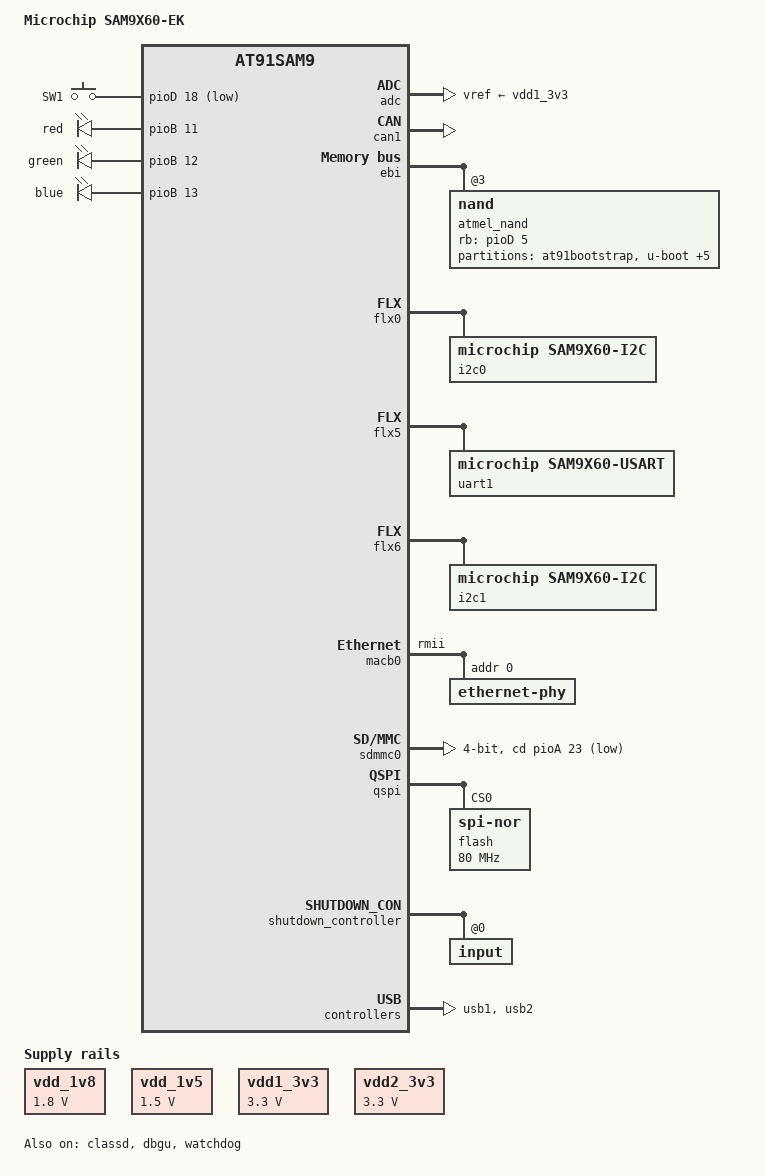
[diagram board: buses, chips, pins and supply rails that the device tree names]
// SPDX-License-Identifier: (GPL-2.0+ OR MIT)
/*
 * at91-sam9x60ek.dts - Device Tree file for Microchip SAM9X60-EK board
 *
 * Copyright (C) 2019 Microchip Technology Inc. and its subsidiaries
 *
 * Author: Sandeep Sheriker M <sandeepsheriker.mallikarjun@microchip.com>
 */
/dts-v1/;
#include "sam9x60.dtsi"

/ {
	model = "Microchip SAM9X60-EK";
	compatible = "microchip,sam9x60ek", "microchip,sam9x60", "atmel,at91sam9";

	aliases {
		i2c0 = &i2c0;
		i2c1 = &i2c1;
		serial1 = &uart1;
	};

	chosen {
		stdout-path = "serial0:115200n8";
	};

	clocks {
		slow_xtal {
			clock-frequency = <32768>;
		};

		main_xtal {
			clock-frequency = <24000000>;
		};
	};

	regulators: regulators {
		compatible = "simple-bus";
		#address-cells = <1>;
		#size-cells = <0>;

		vdd_1v8: fixed-regulator-vdd_1v8@0 {
			compatible = "regulator-fixed";
			regulator-name = "VDD_1V8";
			regulator-min-microvolt = <1800000>;
			regulator-max-microvolt = <1800000>;
			regulator-always-on;
			status = "okay";
		};

		vdd_1v5: fixed-regulator-vdd_1v5@1 {
			compatible = "regulator-fixed";
			regulator-name = "VDD_1V5";
			regulator-min-microvolt = <1500000>;
			regulator-max-microvolt = <1500000>;
			regulator-always-on;
			status = "okay";
		};

		vdd1_3v3: fixed-regulator-vdd1_3v3@2 {
			compatible = "regulator-fixed";
			regulator-name = "VDD1_3V3";
			regulator-min-microvolt = <3300000>;
			regulator-max-microvolt = <3300000>;
			regulator-always-on;
			status = "okay";
		};

		vdd2_3v3: regulator-fixed-vdd2_3v3@3 {
			compatible = "regulator-fixed";
			regulator-name = "VDD2_3V3";
			regulator-min-microvolt = <3300000>;
			regulator-max-microvolt = <3300000>;
			regulator-always-on;
			status = "okay";
		};
	};

	gpio_keys {
		compatible = "gpio-keys";
		pinctrl-names = "default";
		pinctrl-0 = <&pinctrl_key_gpio_default>;
		status = "okay";

		sw1 {
			label = "SW1";
			gpios = <&pioD 18 GPIO_ACTIVE_LOW>;
			linux,code=<0x104>;
			wakeup-source;
		};
	};

	leds {
		compatible = "gpio-leds";
		status = "okay"; /* Conflict with pwm0. */

		red {
			label = "red";
			gpios = <&pioB 11 GPIO_ACTIVE_HIGH>;
		};

		green {
			label = "green";
			gpios = <&pioB 12 GPIO_ACTIVE_HIGH>;
		};

		blue {
			label = "blue";
			gpios = <&pioB 13 GPIO_ACTIVE_HIGH>;
			linux,default-trigger = "heartbeat";
		};
	};
};

&adc {
	vddana-supply = <&vdd1_3v3>;
	vref-supply = <&vdd1_3v3>;
	pinctrl-names = "default";
	pinctrl-0 = <&pinctrl_adc_default &pinctrl_adtrg_default>;
	status = "okay";
};

&can0 {
	pinctrl-names = "default";
	pinctrl-0 = <&pinctrl_can0_rx_tx>;
	status = "disabled"; /* Conflict with dbgu. */
};

&can1 {
	pinctrl-names = "default";
	pinctrl-0 = <&pinctrl_can1_rx_tx>;
	status = "okay";
};

&classd {
	pinctrl-names = "default";
	pinctrl-0 = <&pinctrl_classd_default>;
	atmel,pwm-type = "diff";
	atmel,non-overlap-time = <10>;
	status = "okay";
};

&dbgu {
	pinctrl-names = "default";
	pinctrl-0 = <&pinctrl_dbgu>;
	status = "okay"; /* Conflict with can0. */
};

&ebi {
	pinctrl-names = "default";
	pinctrl-0 = <&pinctrl_ebi_addr_nand &pinctrl_ebi_data_0_7>;
	status = "okay";

	nand_controller: nand-controller {
		pinctrl-names = "default";
		pinctrl-0 = <&pinctrl_nand_oe_we &pinctrl_nand_cs &pinctrl_nand_rb>;
		status = "okay";

		nand@3 {
			reg = <0x3 0x0 0x800000>;
			rb-gpios = <&pioD 5 GPIO_ACTIVE_HIGH>;
			cs-gpios = <&pioD 4 GPIO_ACTIVE_HIGH>;
			nand-bus-width = <8>;
			nand-ecc-mode = "hw";
			nand-ecc-strength = <8>;
			nand-ecc-step-size = <512>;
			nand-on-flash-bbt;
			label = "atmel_nand";

			partitions {
				compatible = "fixed-partitions";
				#address-cells = <1>;
				#size-cells = <1>;

				at91bootstrap@0 {
					label = "at91bootstrap";
					reg = <0x0 0x40000>;
				};

				uboot@40000 {
					label = "u-boot";
					reg = <0x40000 0xc0000>;
				};

				ubootenvred@100000 {
					label = "U-Boot Env Redundant";
					reg = <0x100000 0x40000>;
				};

				ubootenv@140000 {
					label = "U-Boot Env";
					reg = <0x140000 0x40000>;
				};

				dtb@180000 {
					label = "device tree";
					reg = <0x180000 0x80000>;
				};

				kernel@200000 {
					label = "kernel";
					reg = <0x200000 0x600000>;
				};

				rootfs@800000 {
					label = "rootfs";
					reg = <0x800000 0x1f800000>;
				};
			};
		};
	};
};

&flx0 {
	atmel,flexcom-mode = <ATMEL_FLEXCOM_MODE_TWI>;
	status = "okay";

	i2c0: i2c@600 {
		compatible = "microchip,sam9x60-i2c";
		reg = <0x600 0x200>;
		interrupts = <5 IRQ_TYPE_LEVEL_HIGH 7>;
		#address-cells = <1>;
		#size-cells = <0>;
		clocks = <&pmc PMC_TYPE_PERIPHERAL 5>;
		pinctrl-names = "default";
		pinctrl-0 = <&pinctrl_flx0_default>;
		atmel,fifo-size = <16>;
		i2c-analog-filter;
		i2c-digital-filter;
		i2c-digital-filter-width-ns = <35>;
		status = "okay";

		eeprom@53 {
			compatible = "atmel,24c32";
			reg = <0x53>;
			pagesize = <16>;
			size = <128>;
			status = "okay";
		};
	};
};

&flx4 {
	atmel,flexcom-mode = <ATMEL_FLEXCOM_MODE_SPI>;
	status = "disabled";

	spi0: spi@400 {
		compatible = "microchip,sam9x60-spi", "atmel,at91rm9200-spi";
		reg = <0x400 0x200>;
		interrupts = <13 IRQ_TYPE_LEVEL_HIGH 7>;
		clocks = <&pmc PMC_TYPE_PERIPHERAL 13>;
		clock-names = "spi_clk";
		pinctrl-names = "default";
		pinctrl-0 = <&pinctrl_flx4_default>;
		atmel,fifo-size = <16>;
		#address-cells = <1>;
		#size-cells = <0>;
		status = "disabled";
	};
};

&flx5 {
	atmel,flexcom-mode = <ATMEL_FLEXCOM_MODE_USART>;
	status = "okay";

	uart1: serial@200 {
		compatible = "microchip,sam9x60-usart", "atmel,at91sam9260-usart";
		reg = <0x200 0x200>;
		interrupts = <14 IRQ_TYPE_LEVEL_HIGH 7>;
		dmas = <&dma0
			(AT91_XDMAC_DT_MEM_IF(0) | AT91_XDMAC_DT_PER_IF(1) |
			 AT91_XDMAC_DT_PERID(10))>,
		       <&dma0
			(AT91_XDMAC_DT_MEM_IF(0) | AT91_XDMAC_DT_PER_IF(1) |
			 AT91_XDMAC_DT_PERID(11))>;
		dma-names = "tx", "rx";
		clocks = <&pmc PMC_TYPE_PERIPHERAL 14>;
		clock-names = "usart";
		pinctrl-0 = <&pinctrl_flx5_default>;
		pinctrl-names = "default";
		atmel,use-dma-rx;
		atmel,use-dma-tx;
		status = "okay";
	};
};

&flx6 {
	atmel,flexcom-mode = <ATMEL_FLEXCOM_MODE_TWI>;
	status = "okay";

	i2c1: i2c@600 {
		compatible = "microchip,sam9x60-i2c";
		reg = <0x600 0x200>;
		interrupts = <9 IRQ_TYPE_LEVEL_HIGH 7>;
		#address-cells = <1>;
		#size-cells = <0>;
		clocks = <&pmc PMC_TYPE_PERIPHERAL 9>;
		pinctrl-names = "default";
		pinctrl-0 = <&pinctrl_flx6_default>;
		atmel,fifo-size = <16>;
		i2c-analog-filter;
		i2c-digital-filter;
		i2c-digital-filter-width-ns = <35>;
		status = "okay";

		gpio_exp: mcp23008@20 {
			compatible = "microchip,mcp23008";
			reg = <0x20>;
		};
	};
};

&i2s {
	pinctrl-names = "default";
	pinctrl-0 = <&pinctrl_i2s_default>;
	#sound-dai-cells = <0>;
	status = "disabled"; /* Conflict with QSPI. */
};

&macb0 {
	phy-mode = "rmii";
	#address-cells = <1>;
	#size-cells = <0>;
	pinctrl-names = "default";
	pinctrl-0 = <&pinctrl_macb0_rmii>;
	status = "okay";

	ethernet-phy@0 {
		reg = <0x0>;
	};
};

&pinctrl {
	atmel,mux-mask = <
			 /*	A	B	C	*/
			 0xFFFFFE7F 0xC0E0397F 0xEF00019D	/* pioA */
			 0x03FFFFFF 0x02FC7E68 0x00780000	/* pioB */
			 0xffffffff 0xF83FFFFF 0xB800F3FC	/* pioC */
			 0x003FFFFF 0x003F8000 0x00000000	/* pioD */
			 >;

	adc {
		pinctrl_adc_default: adc_default {
			atmel,pins = <AT91_PIOB 15 AT91_PERIPH_A AT91_PINCTRL_NONE>;
		};

		pinctrl_adtrg_default: adtrg_default {
			atmel,pins = <AT91_PIOB 18 AT91_PERIPH_B AT91_PINCTRL_PULL_UP>;
		};
	};

	dbgu {
		pinctrl_dbgu: dbgu-0 {
			atmel,pins = <AT91_PIOA 9 AT91_PERIPH_A AT91_PINCTRL_PULL_UP
				      AT91_PIOA 10 AT91_PERIPH_A AT91_PINCTRL_NONE>;
		};
	};

	i2s {
		pinctrl_i2s_default: i2s {
			atmel,pins =
				<AT91_PIOB 19 AT91_PERIPH_B AT91_PINCTRL_NONE		/* I2SCK */
				 AT91_PIOB 20 AT91_PERIPH_B AT91_PINCTRL_NONE		/* I2SWS */
				 AT91_PIOB 21 AT91_PERIPH_B AT91_PINCTRL_NONE		/* I2SDIN */
				 AT91_PIOB 22 AT91_PERIPH_B AT91_PINCTRL_NONE		/* I2SDOUT */
				 AT91_PIOB 23 AT91_PERIPH_B AT91_PINCTRL_NONE>;		/* I2SMCK */
		};
	};

	qspi {
		pinctrl_qspi: qspi {
			atmel,pins =
				<AT91_PIOB 19 AT91_PERIPH_A AT91_PINCTRL_SLEWRATE_DIS
				 AT91_PIOB 20 AT91_PERIPH_A AT91_PINCTRL_SLEWRATE_DIS
				 AT91_PIOB 21 AT91_PERIPH_A (AT91_PINCTRL_PULL_UP | AT91_PINCTRL_SLEWRATE_DIS)
				 AT91_PIOB 22 AT91_PERIPH_A (AT91_PINCTRL_PULL_UP | AT91_PINCTRL_SLEWRATE_DIS)
				 AT91_PIOB 23 AT91_PERIPH_A (AT91_PINCTRL_PULL_UP | AT91_PINCTRL_SLEWRATE_DIS)
				 AT91_PIOB 24 AT91_PERIPH_A (AT91_PINCTRL_PULL_UP | AT91_PINCTRL_SLEWRATE_DIS)>;
		};
	};

	nand {
		pinctrl_nand_oe_we: nand-oe-we-0 {
			atmel,pins =
				<AT91_PIOD 0 AT91_PERIPH_A (AT91_PINCTRL_NONE | AT91_PINCTRL_SLEWRATE_DIS)
				 AT91_PIOD 1 AT91_PERIPH_A (AT91_PINCTRL_NONE | AT91_PINCTRL_SLEWRATE_DIS)>;
		};

		pinctrl_nand_rb: nand-rb-0 {
			atmel,pins =
				<AT91_PIOD 5 AT91_PERIPH_GPIO AT91_PINCTRL_PULL_UP>;
		};

		pinctrl_nand_cs: nand-cs-0 {
			atmel,pins =
				<AT91_PIOD 4 AT91_PERIPH_GPIO AT91_PINCTRL_PULL_UP>;
		};
	};

	ebi {
		pinctrl_ebi_data_0_7: ebi-data-lsb-0 {
			atmel,pins =
				<AT91_PIOD 6 AT91_PERIPH_A (AT91_PINCTRL_NONE | AT91_PINCTRL_SLEWRATE_DIS)
				 AT91_PIOD 7 AT91_PERIPH_A (AT91_PINCTRL_NONE | AT91_PINCTRL_SLEWRATE_DIS)
				 AT91_PIOD 8 AT91_PERIPH_A (AT91_PINCTRL_NONE | AT91_PINCTRL_SLEWRATE_DIS)
				 AT91_PIOD 9 AT91_PERIPH_A (AT91_PINCTRL_NONE | AT91_PINCTRL_SLEWRATE_DIS)
				 AT91_PIOD 10 AT91_PERIPH_A (AT91_PINCTRL_NONE | AT91_PINCTRL_SLEWRATE_DIS)
				 AT91_PIOD 11 AT91_PERIPH_A (AT91_PINCTRL_NONE | AT91_PINCTRL_SLEWRATE_DIS)
				 AT91_PIOD 12 AT91_PERIPH_A (AT91_PINCTRL_NONE | AT91_PINCTRL_SLEWRATE_DIS)
				 AT91_PIOD 13 AT91_PERIPH_A (AT91_PINCTRL_NONE | AT91_PINCTRL_SLEWRATE_DIS)>;
		};

		pinctrl_ebi_data_0_15: ebi-data-msb-0 {
			atmel,pins =
				<AT91_PIOD 6 AT91_PERIPH_A AT91_PINCTRL_NONE
				 AT91_PIOD 7 AT91_PERIPH_A AT91_PINCTRL_NONE
				 AT91_PIOD 8 AT91_PERIPH_A AT91_PINCTRL_NONE
				 AT91_PIOD 9 AT91_PERIPH_A AT91_PINCTRL_NONE
				 AT91_PIOD 10 AT91_PERIPH_A AT91_PINCTRL_NONE
				 AT91_PIOD 11 AT91_PERIPH_A AT91_PINCTRL_NONE
				 AT91_PIOD 12 AT91_PERIPH_A AT91_PINCTRL_NONE
				 AT91_PIOD 13 AT91_PERIPH_A AT91_PINCTRL_NONE
				 AT91_PIOD 14 AT91_PERIPH_A AT91_PINCTRL_NONE
				 AT91_PIOD 15 AT91_PERIPH_A AT91_PINCTRL_NONE
				 AT91_PIOD 16 AT91_PERIPH_A AT91_PINCTRL_NONE
				 AT91_PIOD 17 AT91_PERIPH_A AT91_PINCTRL_NONE
				 AT91_PIOD 18 AT91_PERIPH_A AT91_PINCTRL_NONE
				 AT91_PIOD 19 AT91_PERIPH_A AT91_PINCTRL_NONE
				 AT91_PIOD 20 AT91_PERIPH_A AT91_PINCTRL_NONE
				 AT91_PIOD 21 AT91_PERIPH_A AT91_PINCTRL_NONE>;
		};

		pinctrl_ebi_addr_nand: ebi-addr-0 {
			atmel,pins =
				<AT91_PIOD 2 AT91_PERIPH_A (AT91_PINCTRL_NONE | AT91_PINCTRL_SLEWRATE_DIS)
				 AT91_PIOD 3 AT91_PERIPH_A (AT91_PINCTRL_NONE | AT91_PINCTRL_SLEWRATE_DIS)>;
		};
	};

	flexcom {
		pinctrl_flx0_default: flx0_twi {
			atmel,pins =
				<AT91_PIOA 0 AT91_PERIPH_A AT91_PINCTRL_PULL_UP
				 AT91_PIOA 1 AT91_PERIPH_A AT91_PINCTRL_PULL_UP>;
		};

		pinctrl_flx4_default: flx4_spi {
			atmel,pins =
				<AT91_PIOA 11 AT91_PERIPH_A AT91_PINCTRL_NONE
				 AT91_PIOA 12 AT91_PERIPH_A AT91_PINCTRL_NONE
				 AT91_PIOA 13 AT91_PERIPH_A AT91_PINCTRL_NONE
				 AT91_PIOA 14 AT91_PERIPH_A AT91_PINCTRL_NONE>;
		};

		pinctrl_flx5_default: flx_uart {
			atmel,pins =
				<AT91_PIOA 7 AT91_PERIPH_C AT91_PINCTRL_NONE
				 AT91_PIOA 8 AT91_PERIPH_B AT91_PINCTRL_NONE
				 AT91_PIOA 21 AT91_PERIPH_B AT91_PINCTRL_NONE
				 AT91_PIOA 22 AT91_PERIPH_B AT91_PINCTRL_NONE>;
		};

		pinctrl_flx6_default: flx6_twi {
			atmel,pins =
				<AT91_PIOA 30 AT91_PERIPH_A AT91_PINCTRL_PULL_UP
				 AT91_PIOA 31 AT91_PERIPH_A AT91_PINCTRL_PULL_UP>;
		};
	};

	classd {
		pinctrl_classd_default: classd {
			atmel,pins =
				<AT91_PIOA 24 AT91_PERIPH_C AT91_PINCTRL_PULL_UP
				 AT91_PIOA 25 AT91_PERIPH_C AT91_PINCTRL_PULL_UP
				 AT91_PIOA 26 AT91_PERIPH_C AT91_PINCTRL_PULL_UP
				 AT91_PIOA 27 AT91_PERIPH_C AT91_PINCTRL_PULL_UP>;
		};
	};

	can0 {
		pinctrl_can0_rx_tx: can0_rx_tx {
			atmel,pins =
				<AT91_PIOA 9 AT91_PERIPH_B AT91_PINCTRL_NONE	/* CANRX0 */
				 AT91_PIOA 10 AT91_PERIPH_B AT91_PINCTRL_NONE	/* CANTX0 */
				 AT91_PIOD 20 AT91_PERIPH_GPIO AT91_PINCTRL_PULL_DOWN	/* Enable CAN0 mux */
				 AT91_PIOD 21 AT91_PERIPH_GPIO AT91_PINCTRL_PULL_DOWN>;	/* Enable CAN Transceivers */
		};
	};

	can1 {
		pinctrl_can1_rx_tx: can1_rx_tx {
			atmel,pins =
				<AT91_PIOA 6 AT91_PERIPH_B AT91_PINCTRL_NONE	/* CANRX1 RXD1 */
				 AT91_PIOA 5 AT91_PERIPH_B AT91_PINCTRL_NONE	/* CANTX1 TXD1 */
				 AT91_PIOD 19 AT91_PERIPH_GPIO AT91_PINCTRL_PULL_DOWN	/* Enable CAN1 mux */
				 AT91_PIOD 21 AT91_PERIPH_GPIO AT91_PINCTRL_PULL_DOWN>;	/* Enable CAN Transceivers */
		};
	};

	macb0 {
		pinctrl_macb0_rmii: macb0_rmii-0 {
			atmel,pins =
				<AT91_PIOB 0 AT91_PERIPH_A AT91_PINCTRL_NONE	/* PB0 periph A */
				 AT91_PIOB 1 AT91_PERIPH_A AT91_PINCTRL_NONE	/* PB1 periph A */
				 AT91_PIOB 2 AT91_PERIPH_A AT91_PINCTRL_NONE	/* PB2 periph A */
				 AT91_PIOB 3 AT91_PERIPH_A AT91_PINCTRL_NONE	/* PB3 periph A */
				 AT91_PIOB 4 AT91_PERIPH_A AT91_PINCTRL_NONE	/* PB4 periph A */
				 AT91_PIOB 5 AT91_PERIPH_A AT91_PINCTRL_NONE	/* PB5 periph A */
				 AT91_PIOB 6 AT91_PERIPH_A AT91_PINCTRL_NONE	/* PB6 periph A */
				 AT91_PIOB 7 AT91_PERIPH_A AT91_PINCTRL_NONE	/* PB7 periph A */
				 AT91_PIOB 9 AT91_PERIPH_A AT91_PINCTRL_NONE	/* PB9 periph A */
				 AT91_PIOB 10 AT91_PERIPH_A AT91_PINCTRL_NONE>;	/* PB10 periph A */
		};
	};

	pwm0 {
		pinctrl_pwm0_0: pwm0_0 {
			atmel,pins = <AT91_PIOB 11 AT91_PERIPH_B AT91_PINCTRL_NONE>;
		};

		pinctrl_pwm0_1: pwm0_1 {
			atmel,pins = <AT91_PIOB 12 AT91_PERIPH_B AT91_PINCTRL_NONE>;
		};

		pinctrl_pwm0_2: pwm0_2 {
			atmel,pins = <AT91_PIOB 13 AT91_PERIPH_B AT91_PINCTRL_NONE>;
		};

		pinctrl_pwm0_3: pwm0_3 {
			atmel,pins = <AT91_PIOB 14 AT91_PERIPH_B AT91_PINCTRL_NONE>;
		};
	};

	sdmmc0 {
		pinctrl_sdmmc0_default: sdmmc0 {
			atmel,pins =
				<AT91_PIOA 17 AT91_PERIPH_A (AT91_PINCTRL_DRIVE_STRENGTH_HI)				/* PA17 CK  periph A with pullup */
				 AT91_PIOA 16 AT91_PERIPH_A (AT91_PINCTRL_PULL_UP | AT91_PINCTRL_DRIVE_STRENGTH_HI)	/* PA16 CMD periph A with pullup */
				 AT91_PIOA 15 AT91_PERIPH_A (AT91_PINCTRL_PULL_UP | AT91_PINCTRL_DRIVE_STRENGTH_HI)	/* PA15 DAT0 periph A */
				 AT91_PIOA 18 AT91_PERIPH_A (AT91_PINCTRL_PULL_UP | AT91_PINCTRL_DRIVE_STRENGTH_HI)	/* PA18 DAT1 periph A with pullup */
				 AT91_PIOA 19 AT91_PERIPH_A (AT91_PINCTRL_PULL_UP | AT91_PINCTRL_DRIVE_STRENGTH_HI)	/* PA19 DAT2 periph A with pullup */
				 AT91_PIOA 20 AT91_PERIPH_A (AT91_PINCTRL_PULL_UP | AT91_PINCTRL_DRIVE_STRENGTH_HI)>;	/* PA20 DAT3 periph A with pullup */
		};
	};

	sdmmc1 {
		pinctrl_sdmmc1_default: sdmmc1 {
			atmel,pins =
				<AT91_PIOA 13 AT91_PERIPH_B (AT91_PINCTRL_DRIVE_STRENGTH_HI)				/* PA13 CK periph B */
				 AT91_PIOA 12 AT91_PERIPH_B (AT91_PINCTRL_PULL_UP | AT91_PINCTRL_DRIVE_STRENGTH_HI)	/* PA12 CMD periph B with pullup */
				 AT91_PIOA 11 AT91_PERIPH_B (AT91_PINCTRL_PULL_UP | AT91_PINCTRL_DRIVE_STRENGTH_HI)	/* PA11 DAT0 periph B with pullup */
				 AT91_PIOA  2 AT91_PERIPH_B (AT91_PINCTRL_PULL_UP | AT91_PINCTRL_DRIVE_STRENGTH_HI)	/* PA2 DAT1 periph B with pullup */
				 AT91_PIOA  3 AT91_PERIPH_B (AT91_PINCTRL_PULL_UP | AT91_PINCTRL_DRIVE_STRENGTH_HI)	/* PA3 DAT2 periph B with pullup */
				 AT91_PIOA  4 AT91_PERIPH_B (AT91_PINCTRL_PULL_UP | AT91_PINCTRL_DRIVE_STRENGTH_HI)>;	/* PA4 DAT3 periph B with pullup */
		};
	};

	gpio_keys {
		pinctrl_key_gpio_default: pinctrl_key_gpio {
			atmel,pins = <AT91_PIOD 18 AT91_PERIPH_GPIO AT91_PINCTRL_NONE>;
		};
	};
}; /* pinctrl */

&pmc {
	atmel,osc-bypass;
};

&pwm0 {
	pinctrl-names = "default";
	pinctrl-0 = <&pinctrl_pwm0_0 &pinctrl_pwm0_1 &pinctrl_pwm0_2 &pinctrl_pwm0_3>;
	status = "disabled"; /* Conflict with leds. */
};

&sdmmc0 {
	bus-width = <4>;
	pinctrl-names = "default";
	pinctrl-0 = <&pinctrl_sdmmc0_default>;
	status = "okay";
	cd-gpios = <&pioA 23 GPIO_ACTIVE_LOW>;
	disable-wp;
};

&sdmmc1 {
	bus-width = <4>;
	pinctrl-names = "default";
	pinctrl-0 = <&pinctrl_sdmmc1_default>;
	no-1-8-v;
	non-removable;
	status = "disabled"; /* Conflict with flx4. */
};

&qspi {
	pinctrl-names = "default";
	pinctrl-0 = <&pinctrl_qspi>;
	status = "okay"; /* Conflict with i2s. */

	flash@0 {
		#address-cells = <1>;
		#size-cells = <1>;
		compatible = "jedec,spi-nor";
		reg = <0>;
		spi-max-frequency = <80000000>;
		spi-tx-bus-width = <4>;
		spi-rx-bus-width = <4>;
		m25p,fast-read;

		at91bootstrap@0 {
			label = "qspi: at91bootstrap";
			reg = <0x0 0x40000>;
		};

		bootloader@40000 {
			label = "qspi: bootloader";
			reg = <0x40000 0xc0000>;
		};

		bootloaderenvred@100000 {
			label = "qspi: bootloader env redundant";
			reg = <0x100000 0x40000>;
		};

		bootloaderenv@140000 {
			label = "qspi: bootloader env";
			reg = <0x140000 0x40000>;
		};

		dtb@180000 {
			label = "qspi: device tree";
			reg = <0x180000 0x80000>;
		};

		kernel@200000 {
			label = "qspi: kernel";
			reg = <0x200000 0x600000>;
		};
	};
};

&shutdown_controller {
	atmel,shdwc-debouncer = <976>;
	status = "okay";

	input@0 {
		reg = <0>;
	};
};

&tcb0 {
	timer0: timer@0 {
		compatible = "atmel,tcb-timer";
		reg = <0>;
	};

	timer1: timer@1 {
		compatible = "atmel,tcb-timer";
		reg = <1>;
	};
};

&usb1 {
	num-ports = <3>;
	atmel,vbus-gpio = <0
			   &pioD 15 GPIO_ACTIVE_HIGH
			   &pioD 16 GPIO_ACTIVE_HIGH>;
	status = "okay";
};

&usb2 {
	status = "okay";
};

&watchdog {
	status = "okay";
};

